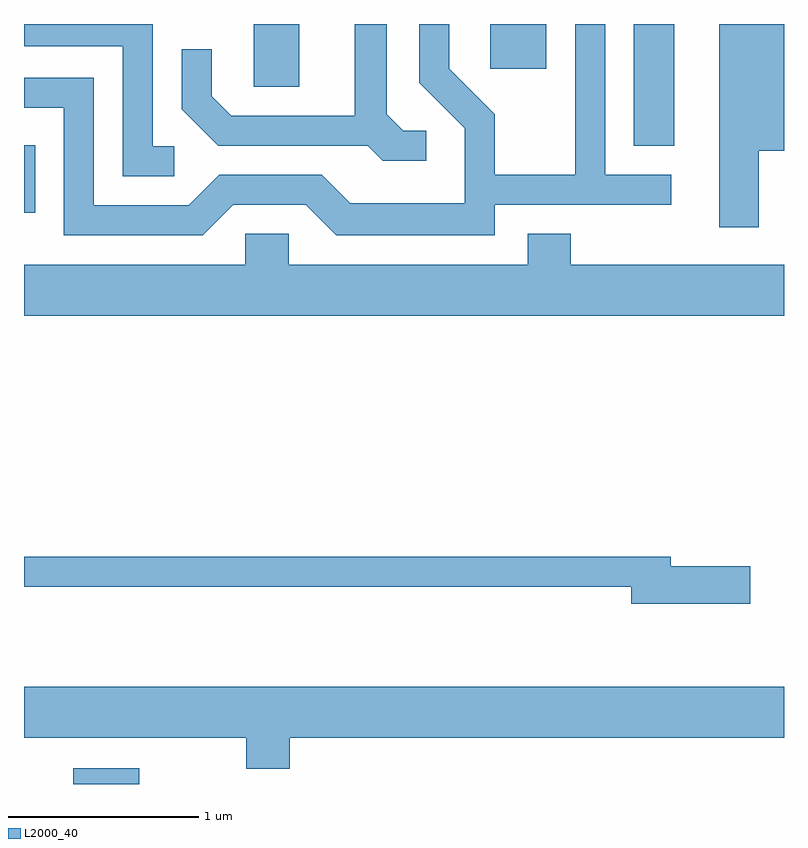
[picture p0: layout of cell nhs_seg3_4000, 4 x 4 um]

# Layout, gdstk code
import gdstk
lib = gdstk.Library(unit=1e-6, precision=1e-09)
def R(c, l, rs):  # rectangles x0, y0, x1, y1
    for r in rs: c.add(gdstk.rectangle(r[:2], r[2:], *l))
def P(c, l, *ps):  # polygons
    for p in ps: c.add(gdstk.Polygon(p, *l))
L2000_40 = (2000, 40)

nhs_seg3_4000 = lib.new_cell('nhs_seg3_4000')
R(nhs_seg3_4000, L2000_40, [(301.871,1227.892,302.218,1227.974), (301.611,1230.898,301.669,1231.254), (304.821,1231.251,305.034,1231.892), (302.821,1231.561,303.059,1231.892), (304.066,1231.656,304.359,1231.892)])
P(nhs_seg3_4000, L2000_40, [(302.403,1231.249),(302.289,1231.249),(302.289,1231.892),(301.611,1231.892),(301.611,1231.776),(302.131,1231.776),(302.131,1231.091),(302.403,1231.091)],
  [(302.712,1230.941),(303.094,1230.941),(303.254,1230.781),(304.089,1230.781),(304.089,1230.941),(305.018,1230.941),(305.018,1231.099),(304.669,1231.099),(304.669,1231.892),(304.511,1231.892),(304.511,1231.099),(304.089,1231.099),(304.089,1231.417),(303.849,1231.657),(303.849,1231.892),(303.691,1231.892),(303.691,1231.584),(303.931,1231.344),(303.931,1230.949),(303.327,1230.949),(303.177,1231.099),(302.639,1231.099),(302.479,1230.939),(301.979,1230.939),(301.979,1231.609),(301.611,1231.609),(301.611,1231.451),(301.821,1231.451),(301.821,1230.781),(302.552,1230.781)],
  [(303.728,1231.329),(303.607,1231.329),(303.519,1231.417),(303.519,1231.892),(303.351,1231.892),(303.351,1231.409),(302.702,1231.409),(302.599,1231.512),(302.599,1231.758),(302.441,1231.758),(302.441,1231.444),(302.634,1231.251),(303.419,1231.251),(303.499,1231.171),(303.728,1231.171)],
  [(305.479,1231.226),(305.611,1231.226),(305.611,1231.892),(305.271,1231.892),(305.271,1230.821),(305.479,1230.821)],
  [(305.611,1230.624),(304.489,1230.624),(304.489,1230.789),(304.261,1230.789),(304.261,1230.624),(303.004,1230.624),(303.004,1230.789),(302.776,1230.789),(302.776,1230.624),(301.611,1230.624),(301.611,1230.356),(305.611,1230.356)],
  [(305.434,1229.039),(305.014,1229.039),(305.014,1229.089),(301.611,1229.089),(301.611,1228.931),(304.806,1228.931),(304.806,1228.841),(305.434,1228.841)],
  [(303.009,1228.136),(305.611,1228.136),(305.611,1228.404),(301.611,1228.404),(301.611,1228.136),(302.781,1228.136),(302.781,1227.971),(303.009,1227.971)])

lib.write_gds('nhs_seg3_4000.gds')
